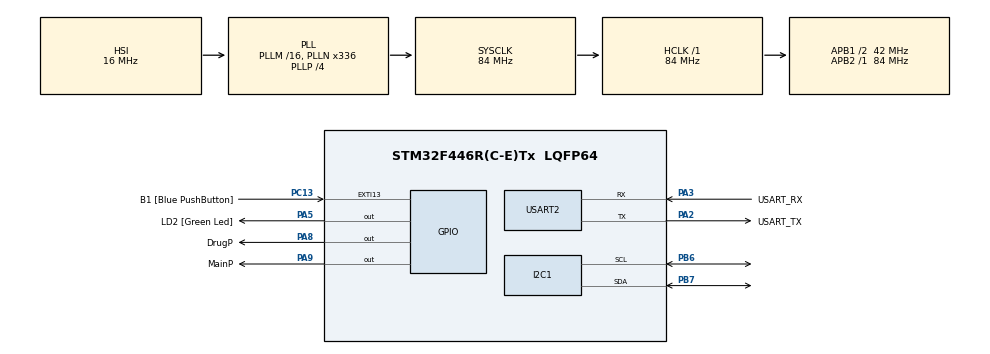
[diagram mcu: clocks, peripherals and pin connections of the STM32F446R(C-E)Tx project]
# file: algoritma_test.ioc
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FREERTOS.Tasks01=readData,24,128,StartDefaultTask,Default,NULL,Dynamic,NULL,NULL;openDrug,8,128,StartTask02,Default,NULL,Dynamic,NULL,NULL;openMain,8,128,StartTask03,Default,NULL,Dynamic,NULL,NULL
Mcu.Family=STM32F4
Mcu.Name=STM32F446R(C-E)Tx
Mcu.Package=LQFP64
NVIC.PriorityGroup=NVIC_PRIORITYGROUP_4
NVIC.TIM6_DAC_IRQn=true\:15\:0\:false\:false\:true\:false\:false\:true\:true
NVIC.TimeBase=TIM6_DAC_IRQn
NVIC.TimeBaseIP=TIM6
PA13.GPIO_Label=TMS
PA13.Mode=Serial_Wire
PA13.Signal=SYS_JTMS-SWDIO
PA14.GPIO_Label=TCK
PA14.Mode=Serial_Wire
PA14.Signal=SYS_JTCK-SWCLK
PA2.GPIO_Label=USART_TX
PA2.Mode=Asynchronous
PA2.Signal=USART2_TX
PA3.GPIO_Label=USART_RX
PA3.Mode=Asynchronous
PA3.Signal=USART2_RX
PA5.GPIO_Label=LD2 [Green Led]
PA5.Signal=GPIO_Output
PA8.GPIO_Label=DrugP
PA8.Signal=GPIO_Output
PA9.GPIO_Label=MainP
PA9.Signal=GPIO_Output
PB3.GPIO_Label=SWO
PB3.Signal=SYS_JTDO-SWO
PB6.Mode=I2C
PB6.Signal=I2C1_SCL
PB7.Mode=I2C
PB7.Signal=I2C1_SDA
PC13.GPIO_Label=B1 [Blue PushButton]
PC13.GPIO_ModeDefaultEXTI=GPIO_MODE_IT_FALLING
PC13.Signal=GPXTI13
PC14-OSC32_IN.Mode=LSE-External-Oscillator
PC14-OSC32_IN.Signal=RCC_OSC32_IN
PC15-OSC32_OUT.Mode=LSE-External-Oscillator
PC15-OSC32_OUT.Signal=RCC_OSC32_OUT
PH0-OSC_IN.Mode=HSE-External-Oscillator
PH0-OSC_IN.Signal=RCC_OSC_IN
PH1-OSC_OUT.Mode=HSE-External-Oscillator
PH1-OSC_OUT.Signal=RCC_OSC_OUT
ProjectManager.HeapSize=0x200
ProjectManager.StackSize=0x400
ProjectManager.TargetToolchain=STM32CubeIDE
RCC.48MHZClocksFreq_Value=84000000
RCC.AHBFreq_Value=84000000
RCC.APB1CLKDivider=RCC_HCLK_DIV2
RCC.APB1Freq_Value=42000000
RCC.APB1TimFreq_Value=84000000
RCC.APB2Freq_Value=84000000
RCC.APB2TimFreq_Value=84000000
RCC.CortexFreq_Value=84000000
RCC.FLatency-AdvancedSettings=FLASH_LATENCY_2
RCC.HCLKFreq_Value=84000000
RCC.HSE_VALUE=8000000
RCC.HSI_VALUE=16000000
RCC.PLLN=336
RCC.PLLP=RCC_PLLP_DIV4
RCC.SYSCLKFreq_VALUE=84000000
RCC.SYSCLKSource=RCC_SYSCLKSOURCE_PLLCLK
RCC.USBFreq_Value=168000000
RCC.VCOOutputFreq_Value=336000000
USART2.VirtualMode=VM_ASYNC
VP_FREERTOS_VS_CMSIS_V2.Mode=CMSIS_V2
VP_SYS_VS_tim6.Mode=TIM6
board=NUCLEO-F446RE

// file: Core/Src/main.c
/* USER CODE BEGIN Header */
/**
  ******************************************************************************
  * @file           : main.c
  * @brief          : Main program body
  ******************************************************************************
  * @attention
  *
  * Copyright (c) 2024 STMicroelectronics.
  * All rights reserved.
  *
  * This software is licensed under terms that can be found in the LICENSE file
  * in the root directory of this software component.
  * If no LICENSE file comes with this software, it is provided AS-IS.
  *
  ******************************************************************************
  */
/* USER CODE END Header */
#include "main.h"
#include "cmsis_os.h"
#include "i2c.h"
#include "usart.h"
#include "gpio.h"

void SystemClock_Config(void);
void MX_FREERTOS_Init(void);

int main(void)
{

  /* MCU Configuration--------------------------------------------------------*/

  /* Reset of all peripherals, Initializes the Flash interface and the Systick. */
  HAL_Init();

  /* Configure the system clock */
  SystemClock_Config();

  /* Initialize all configured peripherals */
  MX_GPIO_Init();
  MX_USART2_UART_Init();
  MX_I2C1_Init();

  /* Init scheduler */
  osKernelInitialize();

  /* Call init function for freertos objects (in cmsis_os2.c) */
  MX_FREERTOS_Init();

  /* Start scheduler */
  osKernelStart();

  /* We should never get here as control is now taken by the scheduler */

  /* Infinite loop */
  while (1)
  {

  }
}

void SystemClock_Config(void)
{
  RCC_OscInitTypeDef RCC_OscInitStruct = {0};
  RCC_ClkInitTypeDef RCC_ClkInitStruct = {0};

  /** Configure the main internal regulator output voltage
  */
  __HAL_RCC_PWR_CLK_ENABLE();
  __HAL_PWR_VOLTAGESCALING_CONFIG(PWR_REGULATOR_VOLTAGE_SCALE3);

  /** Initializes the RCC Oscillators according to the specified parameters
  * in the RCC_OscInitTypeDef structure.
  */
  RCC_OscInitStruct.OscillatorType = RCC_OSCILLATORTYPE_HSI;
  RCC_OscInitStruct.HSIState = RCC_HSI_ON;
  RCC_OscInitStruct.HSICalibrationValue = RCC_HSICALIBRATION_DEFAULT;
  RCC_OscInitStruct.PLL.PLLState = RCC_PLL_ON;
  RCC_OscInitStruct.PLL.PLLSource = RCC_PLLSOURCE_HSI;
  RCC_OscInitStruct.PLL.PLLM = 16;
  RCC_OscInitStruct.PLL.PLLN = 336;
  RCC_OscInitStruct.PLL.PLLP = RCC_PLLP_DIV4;
  RCC_OscInitStruct.PLL.PLLQ = 2;
  RCC_OscInitStruct.PLL.PLLR = 2;
  if (HAL_RCC_OscConfig(&RCC_OscInitStruct) != HAL_OK)
  {
    Error_Handler();
  }

  /** Initializes the CPU, AHB and APB buses clocks
  */
  RCC_ClkInitStruct.ClockType = RCC_CLOCKTYPE_HCLK|RCC_CLOCKTYPE_SYSCLK
                              |RCC_CLOCKTYPE_PCLK1|RCC_CLOCKTYPE_PCLK2;
  RCC_ClkInitStruct.SYSCLKSource = RCC_SYSCLKSOURCE_PLLCLK;
  RCC_ClkInitStruct.AHBCLKDivider = RCC_SYSCLK_DIV1;
  RCC_ClkInitStruct.APB1CLKDivider = RCC_HCLK_DIV2;
  RCC_ClkInitStruct.APB2CLKDivider = RCC_HCLK_DIV1;

  if (HAL_RCC_ClockConfig(&RCC_ClkInitStruct, FLASH_LATENCY_2) != HAL_OK)
  {
    Error_Handler();
  }
}

void HAL_TIM_PeriodElapsedCallback(TIM_HandleTypeDef *htim)
{
  if (htim->Instance == TIM6) {
    HAL_IncTick();
  }
}

void Error_Handler(void)
{
  __disable_irq();
  while (1)
  {
  }
}

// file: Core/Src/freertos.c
/* USER CODE BEGIN Header */
/**
  ******************************************************************************
  * File Name          : freertos.c
  * Description        : Code for freertos applications
  ******************************************************************************
  * @attention
  *
  * Copyright (c) 2024 STMicroelectronics.
  * All rights reserved.
  *
  * This software is licensed under terms that can be found in the LICENSE file
  * in the root directory of this software component.
  * If no LICENSE file comes with this software, it is provided AS-IS.
  *
  ******************************************************************************
  */
/* USER CODE END Header */

#include "FreeRTOS.h"
#include "task.h"
#include "main.h"
#include "cmsis_os.h"

/* USER CODE BEGIN Includes */
#include "bmp180.h"
#include "i2c.h"
#include "usart.h"
#include "gpio.h"
#include <stdbool.h>
#include <stdio.h>
/* USER CODE END Includes */

/* USER CODE BEGIN Variables */

float max_data = 0;
float temperature;
int32_t pressure;
float altitude;
float first_alt;

uint8_t str[50];

bmp180_t bmp180 = {.oversampling_setting = standart};

bool drugOpen = false;

/* USER CODE END Variables */
/* Definitions for readData */
osThreadId_t readDataHandle;
const osThreadAttr_t readData_attributes = {
  .name = "readData",
  .stack_size = 128 * 4,
  .priority = (osPriority_t) osPriorityNormal,
};
/* Definitions for openDrug */
osThreadId_t openDrugHandle;
const osThreadAttr_t openDrug_attributes = {
  .name = "openDrug",
  .stack_size = 128 * 4,
  .priority = (osPriority_t) osPriorityLow,
};
/* Definitions for openMain */
osThreadId_t openMainHandle;
const osThreadAttr_t openMain_attributes = {
  .name = "openMain",
  .stack_size = 128 * 4,
  .priority = (osPriority_t) osPriorityLow,
};

void StartDefaultTask(void *argument);
void StartTask02(void *argument);
void StartTask03(void *argument);

void MX_FREERTOS_Init(void); /* (MISRA C 2004 rule 8.1) */

void MX_FREERTOS_Init(void) {

  /* Create the thread(s) */
  /* creation of readData */
  readDataHandle = osThreadNew(StartDefaultTask, NULL, &readData_attributes);

  /* creation of openDrug */
  openDrugHandle = osThreadNew(StartTask02, NULL, &openDrug_attributes);

  /* creation of openMain */
  openMainHandle = osThreadNew(StartTask03, NULL, &openMain_attributes);

}

void StartDefaultTask(void *argument)
{
  /* USER CODE BEGIN StartDefaultTask */
  	bmp180_init(&hi2c1, &bmp180);
	bmp180_get_altitude(&bmp180);
	first_alt = 0;
	for (uint8_t i = 0; i < 500; i++)
		first_alt += bmp180.altitude;
	first_alt /= 500;

  /* Infinite loop */
  for(;;)
  {
	bmp180_get_all(&bmp180);
	temperature = bmp180.temperature;
	pressure = bmp180.pressure;
	altitude = bmp180.altitude;

	if (max_data < altitude)
		max_data = altitude;

	printf(str, "%f\n", altitude);

	HAL_UART_Transmit(&huart2, str, strlen(str), 100);

    osDelay(1);
  }
  /* USER CODE END StartDefaultTask */
}

void StartTask02(void *argument)
{
  /* USER CODE BEGIN StartTask02 */
  /* Infinite loop */
  for(;;)
  {
	if (max_data - altitude > 2.0 && drugOpen == false)
	{
		HAL_GPIO_WritePin(LD2_GPIO_Port, LD2_Pin, GPIO_PIN_SET);
		drugOpen = true;
	}

    osDelay(1);
  }
  /* USER CODE END StartTask02 */
}

void StartTask03(void *argument)
{
  /* USER CODE BEGIN StartTask03 */
  /* Infinite loop */
  for(;;)
  {
	if (altitude - first_alt < 500 && drugOpen == true)
		HAL_GPIO_WritePin(LD2_GPIO_Port, LD2_Pin, GPIO_PIN_RESET);

    osDelay(1);
  }
  /* USER CODE END StartTask03 */
}
